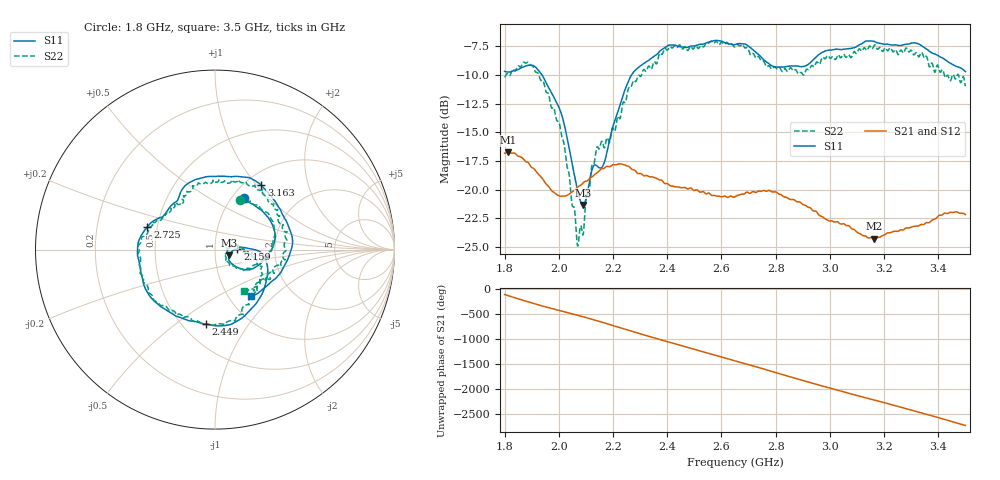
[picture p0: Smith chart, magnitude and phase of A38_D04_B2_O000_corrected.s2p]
! Created with skrf 1.9.0 (http://scikit-rf.org).
# Hz S RI R 50.0
!freq ReS11 ImS11 ReS21 ImS21 ReS12 ImS12 ReS22 ImS22
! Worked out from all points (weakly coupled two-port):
!   1601 points, 1.8 GHz to 3.5 GHz, reference 50 ohm
!   highest |S21| = -16.74 dB at 1.812 GHz (marker M1); lowest = -24.3 dB at 3.163 GHz (marker M2)
!   lowest |S11| = -21.3 dB at 2.09 GHz (marker M3), VSWR 1.19, Z = 58.5 - j3.71 ohm
!   |S11| at or under -10 dB: 1.938 GHz to 2.269 GHz (331.2 MHz wide, 15.7 % of centre)
!   |S22| runs from -24.9 to -7.1 dB; largest |S21 - S12| = 0.0023
!   S11 on the Smith chart (normalised r, x): 1.8 GHz: 1.13, +0.73; 2.159 GHz: 1.29, +0.01; 2.449 GHz: 0.65, -0.65; 2.725 GHz: 0.44, +0.13; 3.163 GHz: 1.18, +1.06; 3.5 GHz: 1.26, -0.73
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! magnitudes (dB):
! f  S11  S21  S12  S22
! 1.8 GHz  -9.7  -16.8  -16.8  -10.2
! 1.812 GHz  -9.8  -16.7  -16.7  -9.9
! 1.882 GHz  -9.2  -17.6  -17.6  -8.9
! 1.942 GHz  -10.2  -19.1  -19.1  -10.6
! 2.01 GHz  -13.5  -20.6  -20.6  -15.3
! 2.067 GHz  -19.8  -19.8  -19.8  -24.5
! 2.084 GHz  -21.2  -19.6  -19.5  -23.3
! 2.09 GHz  -21.3  -19.4  -19.4  -23.9
! 2.127 GHz  -18.0  -18.8  -18.8  -17.8
! 2.159 GHz  -18.1  -18.2  -18.1  -15.8
! 2.189 GHz  -15.5  -18.0  -18.0  -15.8
! 2.262 GHz  -10.3  -18.1  -18.1  -11.1
! 2.367 GHz  -8.1  -19.1  -19.1  -8.4
! 2.449 GHz  -7.6  -19.8  -19.8  -7.5
! 2.65 GHz  -7.4  -20.6  -20.6  -7.6
! 2.725 GHz  -8.0  -20.3  -20.2  -8.5
! 2.798 GHz  -9.3  -20.2  -20.2  -9.3
! 2.934 GHz  -8.8  -21.7  -21.7  -9.2
! 3.163 GHz  -7.1  -24.3  -24.2  -7.5
! 3.217 GHz  -7.4  -23.8  -23.7  -7.8
! 3.324 GHz  -7.3  -23.2  -23.1  -8.3
! 3.5 GHz  -9.7  -22.2  -22.1  -11.0
